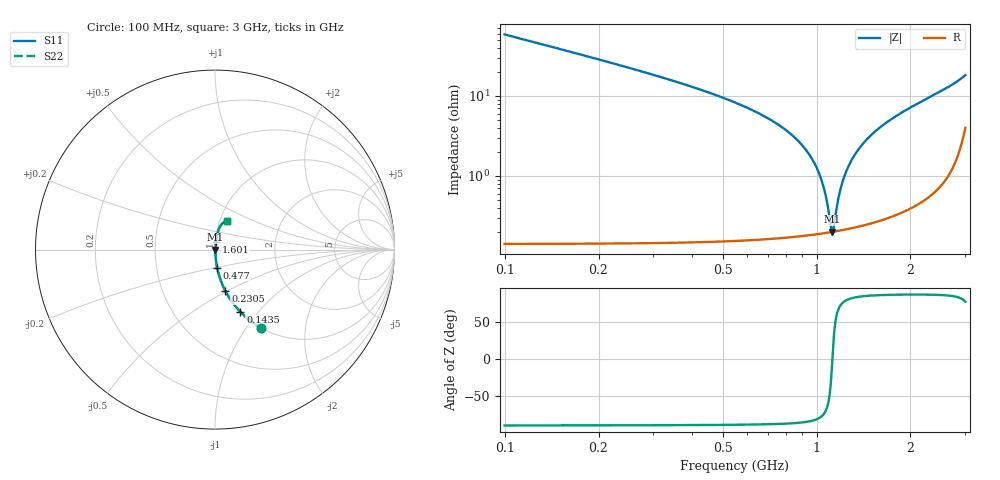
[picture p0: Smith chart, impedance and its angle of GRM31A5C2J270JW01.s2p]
!Murata Part Number: GRM31A5C2J270JW01
!These Parameters are Measured in Series Mode Connection
!Data Generated on Mar 30, 2021
!  o--ll--o
!Port1  Port2
!  o------o
!Operation Temp=25[degC], DC Bias Voltage=0[V]
!Freq. Start=100[MHz] Stop=3[GHz] 401[Steps]
# Hz S RI R 50
!Freq.(Hz) S11(Real) S11(Imag) S21(Real) S21(Imag) S12(Real) S12(Imag) S22(Real) S22(Imag)
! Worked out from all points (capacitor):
!   401 points, 100 MHz to 3 GHz, reference 50 ohm
!   read as one part in series: C = 27 pF near 114.5 MHz
!   lowest |Z| = 200 mohm at 1.122 GHz (marker M1)
!   series resonance near 1.124 GHz, so ESL is about 740 pH
!   S11 on the Smith chart (normalised r, x): 100 MHz: 1.00, -1.17; 143.5 MHz: 1.00, -0.81; 230.5 MHz: 1.00, -0.49; 477 MHz: 1.00, -0.20; 1.601 GHz: 1.01, +0.08; 3 GHz: 1.08, +0.35
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1e8  0.2554 -0.4349  0.7446 0.4349  0.7446 0.4349  0.2554 -0.4349
1.435e8  0.1414 -0.3466  0.8586 0.3466  0.8586 0.3466  0.1414 -0.3466
2.305e8  0.0579 -0.2307  0.9421 0.2307  0.9421 0.2307  0.0579 -0.2307
4.77e8  0.0117 -0.1005  0.9883 0.1005  0.9883 0.1005  0.0117 -0.1005
5.8575e8  0.00696 -0.0733  0.993 0.0733  0.993 0.0733  0.00696 -0.0733
7.8875e8  0.00315 -0.0383  0.9969 0.0383  0.9969 0.0383  0.00315 -0.0383
9.1925e8  0.00225 -0.0216  0.9978 0.0216  0.9978 0.0216  0.00225 -0.0216
1.0135e9  0.00199 -0.0111  0.998 0.0111  0.998 0.0111  0.00199 -0.0111
1.0425e9  0.00196 -0.00808  0.998 0.00808  0.998 0.00808  0.00196 -0.00808
1.0715e9  0.00196 -0.00514  0.998 0.00514  0.998 0.00514  0.00196 -0.00514
1.10775e9  0.00197 -0.00156  0.998 0.00156  0.998 0.00156  0.00197 -0.00156
1.12225e9  0.00199 -0.00016  0.998 0.00016  0.998 0.00016  0.00199 -0.00016
1.13675e9  0.002 0.00123  0.998 -0.00123  0.998 -0.00123  0.002 0.00123
1.173e9  0.00207 0.00462  0.9979 -0.00462  0.9979 -0.00462  0.00207 0.00462
1.19475e9  0.00212 0.00662  0.9979 -0.00662  0.9979 -0.00662  0.00212 0.00662
1.26725e9  0.00234 0.0131  0.9977 -0.0131  0.9977 -0.0131  0.00234 0.0131
1.38325e9  0.00287 0.0229  0.9971 -0.0229  0.9971 -0.0229  0.00287 0.0229
1.55e9  0.00396 0.0363  0.996 -0.0363  0.996 -0.0363  0.00396 0.0363
1.60075e9  0.00437 0.0402  0.9956 -0.0402  0.9956 -0.0402  0.00437 0.0402
2.03575e9  0.00943 0.0732  0.9906 -0.0732  0.9906 -0.0732  0.00943 0.0732
2.5215e9  0.0206 0.1126  0.9794 -0.1126  0.9794 -0.1126  0.0206 0.1126
3e9  0.0654 0.1589  0.9346 -0.1589  0.9346 -0.1589  0.0654 0.1589
